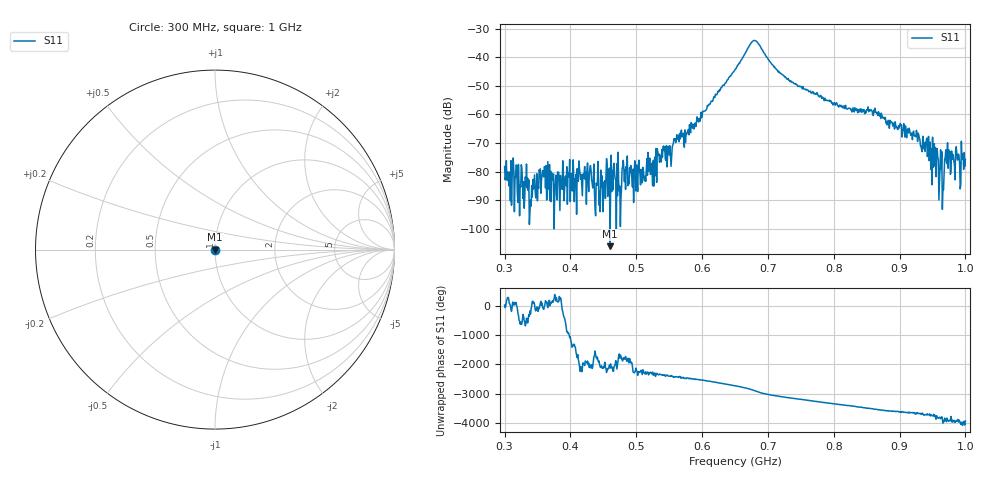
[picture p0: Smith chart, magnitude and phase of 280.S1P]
! C:\Users\rflab\Downloads\q2\280.S1P
! Touchstone 1.1 file saved by VNA.EXE V1.65 (www.ke5fx.com/gpib/readme.htm)
! 11/20/2024 11:15:52 AM
!  Source: HEWLETT PACKARD,8753D,0,6.14
!  Min freq: 3.000000E+008 Hz
!  Max freq: 1.000000E+009 Hz
!  Points: 801
!  Params: S21
# GHZ S MA R 50
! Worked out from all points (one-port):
!   801 points, 300 MHz to 1 GHz, reference 50 ohm
!   lowest |S11| = -106.0 dB at 460.1 MHz (marker M1), VSWR 1.00, Z = 50 + j0.000281 ohm
!   |S11| at or under -10 dB: start of sweep to end of sweep
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0.3  0.000123 18.6
0.3875  4.9e-05 -142.1
0.460125  5e-06 34.2
0.475  5.6e-05 10.8
0.52575  0.000156 155.8
0.53975  0.00018 150.8
0.55025  0.000196 117.9
0.5625  0.00037 94.6
0.5765  0.000448 60.1
0.65  0.006017 149.2
0.680625  0.01952 -25.3
0.712125  0.006227 169.3
0.7375  0.003667 85.0
0.825  0.001262 -165.0
0.864375  0.001067 70.1
0.88275  0.000787 24.9
0.9125  0.000559 -40.1
0.927375  0.000337 -44.9
0.93525  0.000416 -89.6
0.943125  0.000242 -117.9
0.948375  0.00025 -118.9
0.953625  0.000125 -133.8
0.96325  0.000109 138.6
0.9685  0.000166 131.3
0.972875  0.00032 48.8
0.98075  0.000201 54.3
0.9825  0.000152 3.4
1  0.000164 34.9
